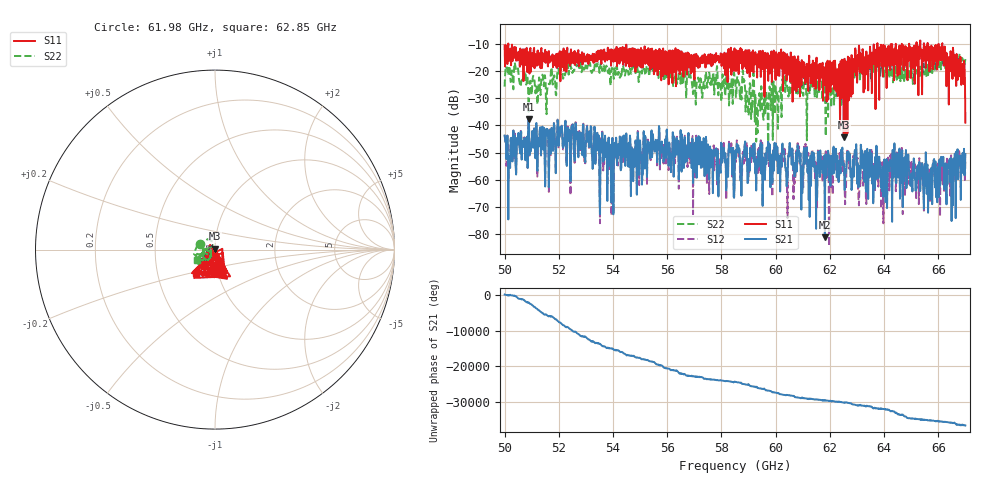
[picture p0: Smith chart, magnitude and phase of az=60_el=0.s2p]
!Created with skrf (http://scikit-rf.org).
# GHz S RI R 50.0
!freq ReS11 ImS11 ReS21 ImS21 ReS12 ImS12 ReS22 ImS22
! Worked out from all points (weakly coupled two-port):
!   1001 points, 50 GHz to 67 GHz, reference 50 ohm
!   highest |S21| = -37.78 dB at 50.88 GHz (marker M1); lowest = -81.1 dB at 61.81 GHz (marker M2)
!   lowest |S11| = -44.3 dB at 62.51 GHz (marker M3), VSWR 1.01, Z = 50.2 + j0.572 ohm
!   |S11| at or under -10 dB: 50.14 GHz to 63.75 GHz (13.62 GHz wide, 23.9 % of centre); 63.75 GHz to 64.93 GHz (1.172 GHz wide, 1.82 % of centre); 66.15 GHz to end of sweep (the widest 3 of 9)
!   |S22| runs from -53.7 to -13.6 dB; largest |S21 - S12| = 0.0023
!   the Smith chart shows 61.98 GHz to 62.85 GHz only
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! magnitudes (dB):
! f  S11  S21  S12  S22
! 50 GHz  -10.5  -43.7  -43.7  -25.7
! 50.2 GHz  -12.9  -55.6  -53.0  -21.2
! 50.31 GHz  -13.9  -44.5  -44.0  -24.1
! 50.88 GHz  -14.2  -37.8  -37.5  -34.9
! 52.84 GHz  -14.3  -46.0  -45.6  -20.5
! 53.94 GHz  -12.1  -68.3  -73.1  -20.2
! 54.42 GHz  -16.5  -48.5  -47.8  -20.8
! 55.03 GHz  -11.5  -51.8  -53.0  -18.2
! 55.68 GHz  -14.3  -48.2  -49.1  -22.6
! 58.5 GHz  -19.9  -50.1  -50.2  -23.2
! 59.13 GHz  -16.2  -48.7  -52.0  -35.0
! 59.3 GHz  -14.2  -52.5  -50.8  -32.8
! 60.32 GHz  -21.0  -50.2  -49.5  -21.3
! 61.34 GHz  -24.0  -49.7  -48.8  -23.5
! 61.81 GHz  -19.7  -81.1  -65.2  -28.6
! 62.51 GHz  -44.3  -54.1  -53.6  -21.4
! 63.01 GHz  -24.3  -61.4  -52.9  -19.4
! 64.18 GHz  -18.1  -56.6  -53.6  -18.7
! 65.69 GHz  -12.4  -60.3  -67.8  -20.5
! 66.08 GHz  -16.0  -53.1  -55.7  -15.1
! 66.9 GHz  -17.4  -50.1  -53.6  -15.7
! 67 GHz  -39.0  -50.5  -52.6  -15.6
